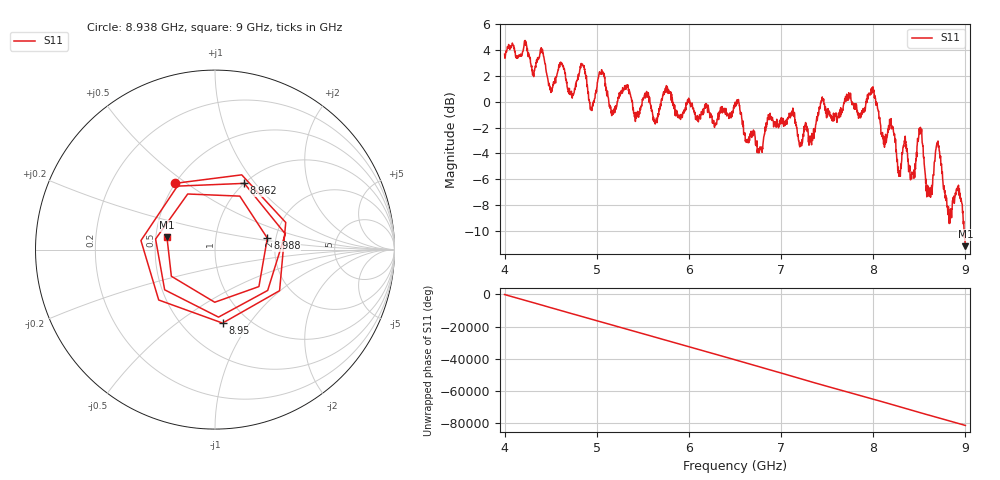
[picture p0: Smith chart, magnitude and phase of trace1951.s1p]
! Created with skrf 1.8.0 (http://scikit-rf.org).
# Hz S RI R 50.0
!freq ReS11 ImS11
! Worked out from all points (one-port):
!   1601 points, 4 GHz to 9 GHz, reference 50 ohm
!   lowest |S11| = -11.2 dB at 9 GHz (marker M1), VSWR 1.76, Z = 28.7 + j4.21 ohm
!   |S11| at or under -10 dB: 8.98558 GHz to 8.990503 GHz (4.923 MHz wide, 0.0548 % of centre); 8.991396 GHz to end of sweep
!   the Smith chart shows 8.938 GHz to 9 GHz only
!   S11 on the Smith chart (normalised r, x): 8.938 GHz: 0.50, +0.45; 8.95 GHz: 0.77, -0.76; 8.962 GHz: 1.00, +0.88; 8.988 GHz: 1.80, +0.25; 9 GHz: 0.57, +0.08
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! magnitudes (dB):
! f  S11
! 4 GHz  3.7
! 4.503 GHz  0.7
! 4.625 GHz  2.9
! 4.731 GHz  0.6
! 4.853 GHz  2.8
! 4.941 GHz  -0.5
! 5.05 GHz  2.2
! 5.159 GHz  -0.8
! 5.25 GHz  0.4
! 5.875 GHz  -0.9
! 6.5 GHz  0.0
! 6.766 GHz  -3.8
! 7.125 GHz  -0.8
! 7.212 GHz  -3.2
! 7.75 GHz  0.3
! 7.997 GHz  1.2
! 8.278 GHz  -5.8
! 8.375 GHz  -4.6
! 8.425 GHz  -5.6
! 8.506 GHz  -2.5
! 8.6 GHz  -6.6
! 8.697 GHz  -3.1
! 8.825 GHz  -9.4
! 8.938 GHz  -7.3
! 8.95 GHz  -7.7
! 8.962 GHz  -7.9
! 8.988 GHz  -10.5
! 9 GHz  -11.2
